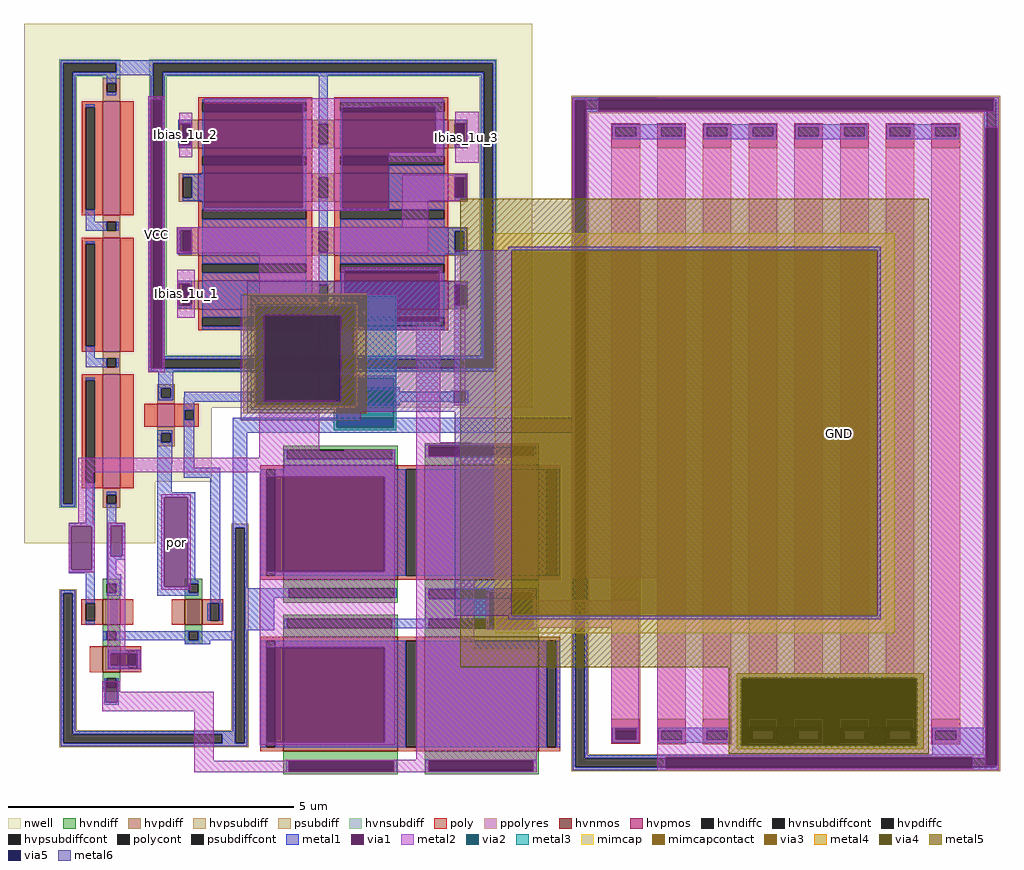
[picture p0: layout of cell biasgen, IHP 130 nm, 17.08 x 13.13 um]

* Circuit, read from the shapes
.subckt biasgen VCC GND Ibias_1u_1 Ibias_1u_2 Ibias_1u_3 por
XM1 GND n1 n2 GND sg13_hv_nmos w=0.3u l=0.45u
XM2 n1 n3 GND GND sg13_hv_nmos w=0.3u l=0.45u
XM3 por n4 GND GND sg13_hv_nmos w=0.3u l=0.45u
XM4 n5 n3 n2 GND sg13_hv_nmos w=2u l=2u m=3
XM5 n3 n3 GND GND sg13_hv_nmos w=2u l=2u
XM6 n6 n3 n1 VCC sg13_hv_pmos w=0.3u l=2u
XM7 n7 n6 n6 VCC sg13_hv_pmos w=0.3u l=2u
XM8 VCC n7 n7 VCC sg13_hv_pmos w=0.3u l=2u
XM9 VCC n4 por VCC sg13_hv_pmos w=0.3u l=0.4u
XM10 VCC n2 Ibias_1u_1 VCC sg13_hv_pmos w=0.5u l=2u
XM11 VCC n2 n3 VCC sg13_hv_pmos w=0.5u l=2u m=2
XM12 VCC n2 n2 VCC sg13_hv_pmos w=0.5u l=2u m=2
XM13 VCC n2 Ibias_1u_2 VCC sg13_hv_pmos w=0.5u l=2u
XM14 n4 n2 VCC VCC sg13_hv_pmos w=0.5u l=2u
XM15 Ibias_1u_3 n2 VCC VCC sg13_hv_pmos w=0.5u l=2u
XC16 n4 GND cap_cmim w=7u l=7u
XR17 n8 n5 ppolyres w=0.5u l=10u
XR18 n8 n9 ppolyres w=0.5u l=10u
XR19 n10 n9 ppolyres w=0.5u l=10u
XR20 n10 n11 ppolyres w=0.5u l=10u
XR21 n12 n11 ppolyres w=0.5u l=10u
XR22 n12 n13 ppolyres w=0.5u l=10u
XR23 n14 n13 ppolyres w=0.5u l=10u
XR24 n14 GND ppolyres w=0.5u l=10u
.ends

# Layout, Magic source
magic
tech ihp-sg13g2
magscale 1 2
<< nwell >>
rect -1596 1288 183 2631
rect -1596 1028 -939 1288
rect -1596 813 -1136 1028
<< hvnmos >>
rect -1320 528 -1260 618
rect -1033 528 -973 618
rect -1320 362 -1260 452
rect -688 686 -288 1086
rect -194 686 206 1086
rect -688 86 -288 486
rect -194 86 206 486
<< hvpmos >>
rect -1320 1961 -1260 2361
rect -1320 1483 -1260 1883
rect -987 2196 -587 2296
rect -511 2196 -111 2296
rect -987 2008 -587 2108
rect -511 2008 -111 2108
rect -987 1820 -587 1920
rect -511 1820 -111 1920
rect -987 1632 -587 1732
rect -511 1632 -111 1732
rect -1320 1005 -1260 1405
rect -1129 1221 -1069 1301
<< hvndiff >>
rect -688 1141 -288 1155
rect -688 1108 -674 1141
rect -307 1108 -288 1141
rect -688 1086 -288 1108
rect -194 1149 206 1163
rect -194 1116 -180 1149
rect 187 1116 206 1149
rect -194 1086 206 1116
rect -1320 672 -1260 689
rect -1320 640 -1306 672
rect -1274 640 -1260 672
rect -1320 618 -1260 640
rect -1033 672 -973 689
rect -1033 640 -1019 672
rect -987 640 -973 672
rect -1033 618 -973 640
rect -1320 506 -1260 528
rect -1320 474 -1306 506
rect -1274 474 -1260 506
rect -1320 452 -1260 474
rect -1033 506 -973 528
rect -1033 474 -1019 506
rect -987 474 -973 506
rect -1033 460 -973 474
rect -1320 340 -1260 362
rect -1320 307 -1306 340
rect -1274 307 -1260 340
rect -1320 293 -1260 307
rect -688 656 -288 686
rect -688 623 -669 656
rect -302 623 -288 656
rect -688 605 -288 623
rect -194 652 206 686
rect -194 619 -180 652
rect 187 619 206 652
rect -688 549 -288 563
rect -688 516 -674 549
rect -307 516 -288 549
rect -688 486 -288 516
rect -194 549 206 619
rect -194 516 -180 549
rect 187 516 206 549
rect -194 486 206 516
rect -688 52 -288 86
rect -688 19 -669 52
rect -302 19 -288 52
rect -688 5 -288 19
rect -194 52 206 86
rect -194 19 -180 52
rect 187 19 206 52
rect -194 5 206 19
<< hvpdiff >>
rect -1320 2423 -1260 2441
rect -1320 2391 -1306 2423
rect -1274 2391 -1260 2423
rect -1320 2361 -1260 2391
rect -1320 1939 -1260 1961
rect -1320 1907 -1306 1939
rect -1274 1907 -1260 1939
rect -1320 1883 -1260 1907
rect -1320 1461 -1260 1483
rect -1320 1429 -1306 1461
rect -1274 1429 -1260 1461
rect -1320 1405 -1260 1429
rect -1055 2282 -987 2296
rect -1055 2210 -1041 2282
rect -1009 2210 -987 2282
rect -1055 2196 -987 2210
rect -587 2282 -511 2296
rect -587 2210 -565 2282
rect -533 2210 -511 2282
rect -587 2196 -511 2210
rect -111 2282 -43 2296
rect -111 2210 -89 2282
rect -57 2210 -43 2282
rect -111 2196 -43 2210
rect -1055 2094 -987 2108
rect -1055 2022 -1041 2094
rect -1009 2022 -987 2094
rect -1055 2008 -987 2022
rect -587 2094 -511 2108
rect -587 2022 -565 2094
rect -533 2022 -511 2094
rect -587 2008 -511 2022
rect -111 2094 -43 2108
rect -111 2022 -89 2094
rect -57 2022 -43 2094
rect -111 2008 -43 2022
rect -1055 1906 -987 1920
rect -1055 1834 -1041 1906
rect -1009 1834 -987 1906
rect -1055 1820 -987 1834
rect -587 1906 -511 1920
rect -587 1834 -565 1906
rect -533 1834 -511 1906
rect -587 1820 -511 1834
rect -111 1906 -43 1920
rect -111 1834 -89 1906
rect -57 1834 -43 1906
rect -111 1820 -43 1834
rect -1055 1718 -987 1732
rect -1055 1646 -1041 1718
rect -1009 1646 -987 1718
rect -1055 1632 -987 1646
rect -587 1718 -511 1732
rect -587 1646 -565 1718
rect -533 1646 -511 1718
rect -587 1632 -511 1646
rect -111 1718 -43 1732
rect -111 1646 -89 1718
rect -57 1646 -43 1718
rect -111 1632 -43 1646
rect -1129 1355 -1069 1369
rect -1129 1323 -1115 1355
rect -1083 1323 -1069 1355
rect -1129 1301 -1069 1323
rect -1129 1199 -1069 1221
rect -1129 1167 -1115 1199
rect -1083 1167 -1069 1199
rect -1129 1153 -1069 1167
rect -1320 983 -1260 1005
rect -1320 951 -1306 983
rect -1274 951 -1260 983
rect -1320 937 -1260 951
<< hvndiffc >>
rect -674 1108 -307 1141
rect -180 1116 187 1149
rect -1306 640 -1274 672
rect -1019 640 -987 672
rect -1306 474 -1274 506
rect -1019 474 -987 506
rect -1306 307 -1274 340
rect -669 623 -302 656
rect -180 619 187 652
rect -674 516 -307 549
rect -180 516 187 549
rect -669 19 -302 52
rect -180 19 187 52
<< hvpdiffc >>
rect -1306 2391 -1274 2423
rect -1306 1907 -1274 1939
rect -1306 1429 -1274 1461
rect -1041 2210 -1009 2282
rect -565 2210 -533 2282
rect -89 2210 -57 2282
rect -1041 2022 -1009 2094
rect -565 2022 -533 2094
rect -89 2022 -57 2094
rect -1041 1834 -1009 1906
rect -565 1834 -533 1906
rect -89 1834 -57 1906
rect -1041 1646 -1009 1718
rect -565 1646 -533 1718
rect -89 1646 -57 1718
rect -1115 1323 -1083 1355
rect -1115 1167 -1083 1199
rect -1306 951 -1274 983
<< psubdiff >>
rect 320 2365 1820 2379
rect 320 29 334 2365
rect 366 2319 1774 2333
rect 366 75 380 2319
rect 1760 75 1774 2319
rect 366 61 1774 75
rect 1806 29 1820 2365
rect 320 15 1820 29
<< hvpsubdiff >>
rect -870 868 -810 882
rect -1472 639 -1412 653
rect -1472 113 -1458 639
rect -1426 159 -1412 639
rect -870 159 -856 868
rect -1426 145 -856 159
rect -902 113 -856 145
rect -824 113 -810 868
rect -1472 99 -810 113
<< hvnsubdiff >>
rect -1472 2493 -1260 2507
rect -1472 951 -1458 2493
rect -1274 2461 -1260 2493
rect -1426 2447 -1260 2461
rect -1426 951 -1412 2447
rect -1320 2441 -1260 2447
rect -1157 2493 59 2507
rect -1157 1426 -1143 2493
rect -1111 2447 13 2461
rect -1111 1472 -1097 2447
rect -1 1472 13 2447
rect -1111 1458 13 1472
rect 45 1426 59 2493
rect -1157 1412 59 1426
rect -1472 937 -1412 951
<< psubdiffcont >>
rect 334 2333 1806 2365
rect 334 61 366 2333
rect 1774 61 1806 2333
rect 334 29 1806 61
<< hvpsubdiffcont >>
rect -1458 145 -1426 639
rect -1458 113 -902 145
rect -856 113 -824 868
<< hvnsubdiffcont >>
rect -1458 2461 -1274 2493
rect -1458 951 -1426 2461
rect -1143 2461 45 2493
rect -1143 1458 -1111 2461
rect 13 1458 45 2461
rect -1143 1426 45 1458
<< poly >>
rect -1394 2339 -1320 2361
rect -1394 1981 -1380 2339
rect -1348 1981 -1320 2339
rect -1394 1961 -1320 1981
rect -1260 1961 -1212 2361
rect -1394 1861 -1320 1883
rect -1394 1503 -1380 1861
rect -1348 1503 -1320 1861
rect -1394 1483 -1320 1503
rect -1260 1483 -1212 1883
rect -987 2356 -587 2374
rect -987 2324 -973 2356
rect -609 2324 -587 2356
rect -987 2296 -587 2324
rect -511 2356 -111 2374
rect -511 2324 -489 2356
rect -125 2324 -111 2356
rect -511 2296 -111 2324
rect -987 2168 -587 2196
rect -987 2136 -973 2168
rect -609 2136 -587 2168
rect -987 2108 -587 2136
rect -511 2168 -111 2196
rect -511 2136 -489 2168
rect -125 2136 -111 2168
rect -511 2108 -111 2136
rect -987 1980 -587 2008
rect -987 1948 -973 1980
rect -609 1948 -587 1980
rect -987 1920 -587 1948
rect -511 1980 -111 2008
rect -511 1948 -489 1980
rect -125 1948 -111 1980
rect -511 1920 -111 1948
rect -987 1792 -587 1820
rect -987 1760 -973 1792
rect -609 1760 -587 1792
rect -987 1732 -587 1760
rect -511 1792 -111 1820
rect -511 1760 -489 1792
rect -125 1760 -111 1792
rect -511 1732 -111 1760
rect -987 1604 -587 1632
rect -987 1572 -973 1604
rect -609 1572 -587 1604
rect -987 1558 -587 1572
rect -511 1604 -111 1632
rect -511 1572 -489 1604
rect -125 1572 -111 1604
rect -511 1558 -111 1572
rect -1394 1383 -1320 1405
rect -1394 1025 -1380 1383
rect -1348 1025 -1320 1383
rect -1394 1005 -1320 1025
rect -1260 1005 -1212 1405
rect -1176 1221 -1129 1301
rect -1069 1278 -985 1301
rect -1069 1246 -1034 1278
rect -1002 1246 -985 1278
rect -1069 1221 -985 1246
rect -770 1072 -688 1086
rect -1395 604 -1320 618
rect -1395 542 -1380 604
rect -1348 542 -1320 604
rect -1395 528 -1320 542
rect -1260 528 -1214 618
rect -1079 528 -1033 618
rect -973 604 -898 618
rect -973 542 -945 604
rect -912 542 -898 604
rect -973 528 -898 542
rect -1366 362 -1320 452
rect -1260 438 -1185 452
rect -1260 376 -1232 438
rect -1200 376 -1185 438
rect -1260 362 -1185 376
rect -770 700 -748 1072
rect -716 700 -688 1072
rect -770 686 -688 700
rect -288 1072 -194 1086
rect -288 700 -260 1072
rect -222 700 -194 1072
rect -288 686 -194 700
rect 206 1072 280 1086
rect 206 700 234 1072
rect 266 700 280 1072
rect 206 686 280 700
rect -770 472 -688 486
rect -770 100 -748 472
rect -716 100 -688 472
rect -770 86 -688 100
rect -288 472 -194 486
rect -288 100 -260 472
rect -222 100 -194 472
rect -288 86 -194 100
rect 206 472 280 486
rect 206 100 234 472
rect 266 100 280 472
rect 206 86 280 100
rect 460 2269 560 2283
rect 460 2237 474 2269
rect 546 2237 560 2269
rect 460 2197 560 2237
rect 460 157 560 197
rect 460 125 474 157
rect 546 125 560 157
rect 460 111 560 125
rect 620 2269 720 2283
rect 620 2237 634 2269
rect 706 2237 720 2269
rect 620 2197 720 2237
rect 620 157 720 197
rect 620 125 634 157
rect 706 125 720 157
rect 620 110 720 125
rect 780 2269 880 2283
rect 780 2237 794 2269
rect 866 2237 880 2269
rect 780 2197 880 2237
rect 780 157 880 197
rect 780 125 794 157
rect 866 125 880 157
rect 780 110 880 125
rect 940 2269 1040 2283
rect 940 2237 954 2269
rect 1026 2237 1040 2269
rect 940 2197 1040 2237
rect 940 157 1040 197
rect 940 125 954 157
rect 1026 125 1040 157
rect 940 110 1040 125
rect 1100 2269 1200 2283
rect 1100 2237 1114 2269
rect 1186 2237 1200 2269
rect 1100 2197 1200 2237
rect 1100 157 1200 197
rect 1100 125 1114 157
rect 1186 125 1200 157
rect 1100 110 1200 125
rect 1260 2269 1360 2283
rect 1260 2237 1274 2269
rect 1346 2237 1360 2269
rect 1260 2197 1360 2237
rect 1260 157 1360 197
rect 1260 125 1274 157
rect 1346 125 1360 157
rect 1260 110 1360 125
rect 1420 2269 1520 2283
rect 1420 2237 1434 2269
rect 1506 2237 1520 2269
rect 1420 2197 1520 2237
rect 1420 157 1520 197
rect 1420 125 1434 157
rect 1506 125 1520 157
rect 1420 110 1520 125
rect 1580 2269 1680 2283
rect 1580 2237 1594 2269
rect 1666 2237 1680 2269
rect 1580 2197 1680 2237
rect 1580 157 1680 197
rect 1580 125 1594 157
rect 1666 125 1680 157
rect 1580 110 1680 125
<< polycont >>
rect -1380 1981 -1348 2339
rect -1380 1503 -1348 1861
rect -973 2324 -609 2356
rect -489 2324 -125 2356
rect -973 2136 -609 2168
rect -489 2136 -125 2168
rect -973 1948 -609 1980
rect -489 1948 -125 1980
rect -973 1760 -609 1792
rect -489 1760 -125 1792
rect -973 1572 -609 1604
rect -489 1572 -125 1604
rect -1380 1025 -1348 1383
rect -1034 1246 -1002 1278
rect -1380 542 -1348 604
rect -945 542 -912 604
rect -1232 376 -1200 438
rect -748 700 -716 1072
rect -260 700 -222 1072
rect 234 700 266 1072
rect -748 100 -716 472
rect -260 100 -222 472
rect 234 100 266 472
rect 474 2237 546 2269
rect 474 125 546 157
rect 634 2237 706 2269
rect 634 125 706 157
rect 794 2237 866 2269
rect 794 125 866 157
rect 954 2237 1026 2269
rect 954 125 1026 157
rect 1114 2237 1186 2269
rect 1114 125 1186 157
rect 1274 2237 1346 2269
rect 1274 125 1346 157
rect 1434 2237 1506 2269
rect 1434 125 1506 157
rect 1594 2237 1666 2269
rect 1594 125 1666 157
<< ppolyres >>
rect 460 197 560 2197
rect 620 197 720 2197
rect 780 197 880 2197
rect 940 197 1040 2197
rect 1100 197 1200 2197
rect 1260 197 1360 2197
rect 1420 197 1520 2197
rect 1580 197 1680 2197
<< metal1 >>
rect -1468 2493 55 2503
rect -1468 951 -1458 2493
rect -1274 2461 -1143 2493
rect -1426 2451 -1143 2461
rect -1426 951 -1416 2451
rect -1306 2423 -1274 2451
rect -1306 2381 -1274 2391
rect -1153 2365 -1143 2451
rect -1111 2451 13 2461
rect -1380 2339 -1348 2349
rect -1380 1939 -1348 1981
rect -1380 1907 -1306 1939
rect -1274 1907 -1264 1939
rect -1380 1861 -1348 1871
rect -1380 1461 -1348 1503
rect -1380 1429 -1306 1461
rect -1274 1429 -1264 1461
rect -1153 1425 -1152 2365
rect -1111 1468 -1103 2451
rect -973 2356 -609 2367
rect -1057 2282 -1009 2296
rect -1057 2206 -1053 2282
rect -1013 2206 -1009 2210
rect -1057 2197 -1009 2206
rect -973 2168 -965 2324
rect -620 2168 -609 2324
rect -973 2104 -965 2136
rect -1041 2094 -965 2104
rect -1009 2022 -965 2094
rect -1041 2012 -965 2022
rect -973 1987 -965 2012
rect -620 1987 -609 2136
rect -973 1980 -609 1987
rect -1060 1908 -1009 1920
rect -1060 1836 -1050 1908
rect -1010 1906 -1009 1908
rect -1060 1834 -1041 1836
rect -1060 1824 -1009 1834
rect -973 1792 -609 1948
rect -1060 1721 -1009 1732
rect -1060 1645 -1055 1721
rect -1015 1718 -1009 1721
rect -1015 1645 -1009 1646
rect -1060 1636 -1009 1645
rect -973 1604 -609 1760
rect -973 1561 -609 1572
rect -565 2282 -533 2451
rect -565 2094 -533 2210
rect -565 1906 -533 2022
rect -565 1718 -533 1834
rect -565 1468 -533 1646
rect -489 2356 -125 2366
rect -489 2168 -482 2324
rect -155 2182 -125 2324
rect -89 2284 -46 2296
rect -89 2282 -87 2284
rect -89 2208 -87 2210
rect -47 2208 -46 2284
rect -89 2197 -46 2208
rect -320 2168 -125 2182
rect -489 1986 -482 2136
rect -320 1986 -125 2136
rect -89 2094 -47 2105
rect -48 2022 -47 2094
rect -89 2012 -47 2022
rect -489 1980 -125 1986
rect -489 1917 -125 1948
rect -489 1906 -47 1917
rect -489 1834 -89 1906
rect -57 1834 -47 1906
rect -489 1824 -47 1834
rect -489 1792 -125 1824
rect -489 1604 -475 1760
rect -143 1604 -125 1760
rect -89 1718 -47 1729
rect -48 1646 -47 1718
rect -89 1636 -47 1646
rect -489 1561 -125 1572
rect 5 1468 13 2451
rect -1111 1458 13 1468
rect 45 1426 55 2493
rect -1112 1425 55 1426
rect -1153 1416 55 1425
rect 324 2373 1816 2375
rect 324 2365 413 2373
rect 1798 2365 1816 2373
rect 324 2364 334 2365
rect -1468 941 -1416 951
rect -1380 1383 -1348 1393
rect -1126 1355 -1073 1416
rect -1126 1323 -1115 1355
rect -1083 1323 -1073 1355
rect -522 1346 -281 1359
rect -522 1344 -509 1346
rect -1126 1313 -1073 1323
rect -1036 1322 -509 1344
rect -1037 1308 -509 1322
rect -1037 1278 -1001 1308
rect -522 1306 -509 1308
rect -296 1344 -281 1346
rect -100 1346 -42 1347
rect -100 1344 -91 1346
rect -296 1308 -91 1344
rect -296 1306 -281 1308
rect -522 1296 -281 1306
rect -100 1306 -91 1308
rect -51 1306 -42 1346
rect -100 1305 -42 1306
rect -1037 1246 -1034 1278
rect -1002 1246 -1001 1278
rect 324 1252 331 2364
rect -1380 885 -1348 1025
rect -1130 1199 -1078 1209
rect -1130 1167 -1115 1199
rect -1083 1167 -1078 1199
rect -1130 1091 -1078 1167
rect -1439 873 -1348 885
rect -1439 721 -1430 873
rect -1359 721 -1348 873
rect -1439 708 -1348 721
rect -1468 639 -1416 649
rect -1468 113 -1458 639
rect -1426 155 -1416 639
rect -1380 604 -1348 708
rect -1306 983 -1274 994
rect -1306 884 -1274 951
rect -1130 991 -1079 1091
rect -1037 1078 -1001 1246
rect -866 1200 331 1252
rect -1037 1042 -909 1078
rect -1130 974 -997 991
rect -1306 875 -1241 884
rect -1306 768 -1293 875
rect -1253 768 -1241 875
rect -1306 756 -1241 768
rect -1306 705 -1274 756
rect -1306 672 -1255 705
rect -1274 640 -1255 672
rect -1306 630 -1255 640
rect -1130 661 -1105 974
rect -1023 684 -997 974
rect -1023 672 -987 684
rect -1023 661 -1019 672
rect -1130 640 -1019 661
rect -1130 630 -987 640
rect -945 604 -909 1042
rect -866 868 -814 1200
rect -191 1157 197 1158
rect -191 1149 -179 1157
rect -685 1108 -674 1141
rect -307 1108 -297 1141
rect -191 1116 -180 1149
rect 188 1117 197 1157
rect 187 1116 197 1117
rect -685 1072 -297 1108
rect -955 542 -945 604
rect -912 542 -902 604
rect -1380 530 -1348 542
rect -1033 506 -981 507
rect -866 506 -856 868
rect -1320 474 -1306 506
rect -1274 474 -1019 506
rect -987 474 -856 506
rect -1033 460 -945 474
rect -1301 429 -1232 438
rect -1301 384 -1292 429
rect -1301 376 -1232 384
rect -1200 376 -1189 438
rect -1316 329 -1306 340
rect -1274 329 -1264 340
rect -1316 257 -1310 329
rect -1270 257 -1264 329
rect -1316 248 -1264 257
rect -866 155 -856 474
rect -1426 145 -856 155
rect -902 113 -856 145
rect -824 656 -814 868
rect -770 700 -748 1072
rect -716 1046 -260 1072
rect -333 713 -260 1046
rect -716 700 -260 713
rect -222 700 234 1072
rect 266 700 280 1072
rect 324 692 331 1200
rect 371 2325 413 2333
rect 371 2323 1774 2325
rect 371 692 376 2323
rect 463 2269 716 2279
rect 463 2237 474 2269
rect 546 2237 634 2269
rect 706 2237 716 2269
rect 463 2227 716 2237
rect 783 2269 1036 2279
rect 783 2237 794 2269
rect 866 2237 954 2269
rect 1026 2237 1036 2269
rect 783 2227 1036 2237
rect 1103 2269 1356 2279
rect 1103 2237 1114 2269
rect 1186 2237 1274 2269
rect 1346 2237 1356 2269
rect 1103 2227 1356 2237
rect 1423 2269 1676 2279
rect 1423 2237 1434 2269
rect 1506 2237 1594 2269
rect 1666 2237 1676 2269
rect 1423 2227 1676 2237
rect 1764 2268 1774 2323
rect 1806 2268 1816 2365
rect -824 623 -669 656
rect -302 623 -292 656
rect -192 652 198 656
rect -824 508 -721 623
rect -192 619 -180 652
rect 187 619 198 652
rect -192 549 31 619
rect 184 549 198 619
rect -685 516 -674 549
rect -307 516 -180 549
rect 187 516 198 549
rect 22 511 67 516
rect -824 113 -814 508
rect -1468 103 -814 113
rect -770 449 -748 472
rect -716 449 -260 472
rect -770 116 -749 449
rect -334 116 -260 449
rect -770 100 -748 116
rect -716 100 -260 116
rect -222 100 234 472
rect 266 100 280 472
rect -679 52 -292 56
rect -679 12 -669 52
rect -302 12 -292 52
rect -192 53 198 56
rect -192 13 -180 53
rect 187 13 198 53
rect 324 29 334 692
rect 366 71 376 692
rect 1764 167 1770 2268
rect 463 165 556 167
rect 463 125 473 165
rect 547 125 556 165
rect 463 115 556 125
rect 623 157 876 167
rect 623 125 634 157
rect 706 125 794 157
rect 866 125 876 157
rect 623 115 876 125
rect 943 157 1196 167
rect 943 125 954 157
rect 1026 125 1114 157
rect 1186 125 1196 157
rect 943 115 1196 125
rect 1263 157 1516 167
rect 1263 125 1274 157
rect 1346 125 1434 157
rect 1506 125 1516 157
rect 1263 115 1516 125
rect 1583 157 1770 167
rect 1583 125 1594 157
rect 1666 125 1770 157
rect 1583 71 1770 125
rect 366 65 1770 71
rect 366 61 648 65
rect 1724 61 1770 65
rect 1810 34 1816 2268
rect 1806 29 1816 34
rect 324 25 648 29
rect 1724 25 1816 29
rect 324 19 1816 25
rect -192 12 198 13
rect -679 11 -292 12
<< via1 >>
rect -1152 1426 -1143 2365
rect -1143 1426 -1112 2365
rect -965 2324 -620 2353
rect -1053 2210 -1041 2282
rect -1041 2210 -1013 2282
rect -1053 2206 -1013 2210
rect -965 2168 -620 2324
rect -965 2136 -620 2168
rect -965 1987 -620 2136
rect -1050 1906 -1010 1908
rect -1050 1836 -1041 1906
rect -1041 1836 -1010 1906
rect -1055 1718 -1015 1721
rect -1055 1646 -1041 1718
rect -1041 1646 -1015 1718
rect -1055 1645 -1015 1646
rect -375 2340 -155 2341
rect -482 2324 -155 2340
rect -482 2182 -155 2324
rect -87 2282 -47 2284
rect -87 2210 -57 2282
rect -57 2210 -47 2282
rect -87 2208 -47 2210
rect -482 2168 -320 2182
rect -482 2136 -320 2168
rect -482 1986 -320 2136
rect -88 2022 -57 2094
rect -57 2022 -48 2094
rect -475 1760 -143 1769
rect -475 1604 -143 1760
rect -88 1646 -57 1718
rect -57 1646 -48 1718
rect -475 1588 -143 1604
rect -1152 1425 -1112 1426
rect 413 2365 1798 2373
rect -509 1306 -296 1346
rect -91 1306 -51 1346
rect -1430 721 -1359 873
rect -1293 768 -1253 875
rect -1105 661 -1023 974
rect -179 1149 188 1157
rect -179 1117 187 1149
rect 187 1117 188 1149
rect -1292 384 -1232 429
rect -1232 384 -1202 429
rect -1310 307 -1306 329
rect -1306 307 -1274 329
rect -1274 307 -1270 329
rect -1310 257 -1270 307
rect -748 713 -716 1046
rect -716 713 -333 1046
rect 331 692 334 2364
rect 334 2333 371 2364
rect 413 2333 1798 2365
rect 334 692 366 2333
rect 366 692 371 2333
rect 413 2325 1774 2333
rect 1774 2325 1798 2333
rect 31 619 184 643
rect 31 549 184 619
rect 31 521 184 549
rect -749 116 -748 449
rect -748 116 -716 449
rect -716 116 -334 449
rect -669 19 -302 52
rect -669 12 -302 19
rect -180 52 187 53
rect -180 19 187 52
rect -180 13 187 19
rect 473 157 547 165
rect 473 125 474 157
rect 474 125 546 157
rect 546 125 547 157
rect 648 61 1724 65
rect 1770 61 1774 2268
rect 1774 61 1806 2268
rect 648 29 1724 61
rect 1770 34 1806 61
rect 1806 34 1810 2268
rect 648 25 1724 29
<< metal2 >>
rect -1161 2365 -1103 2378
rect 620 2373 1816 2374
rect -1161 1425 -1152 2365
rect -1112 1425 -1103 2365
rect -965 2353 -129 2370
rect -1053 2282 -1008 2320
rect -1013 2206 -1008 2282
rect -1053 2165 -1008 2206
rect -620 2341 -129 2353
rect -620 2340 -375 2341
rect -620 1987 -482 2340
rect -155 2182 -129 2341
rect 322 2364 413 2373
rect -965 1986 -482 1987
rect -320 2148 -129 2182
rect -87 2284 -5 2323
rect -47 2208 -5 2284
rect -87 2145 -5 2208
rect -965 1977 -320 1986
rect -273 2094 -48 2103
rect -273 2022 -88 2094
rect -273 2012 -48 2022
rect -965 1976 -620 1977
rect -273 1919 -182 2012
rect -1061 1908 -182 1919
rect -1061 1836 -1050 1908
rect -1010 1836 -182 1908
rect -1061 1828 -182 1836
rect -1059 1721 -999 1771
rect -1059 1645 -1055 1721
rect -1015 1645 -999 1721
rect -1059 1603 -999 1645
rect -1161 1412 -1103 1425
rect -772 1136 -562 1828
rect -486 1769 -133 1779
rect -486 1588 -475 1769
rect -143 1588 -133 1769
rect -91 1718 -48 1728
rect -91 1646 -88 1718
rect -91 1632 -48 1646
rect -486 1580 -139 1588
rect -228 1579 -139 1580
rect -512 1390 -293 1400
rect -512 1346 -501 1390
rect -302 1346 -293 1390
rect -512 1306 -509 1346
rect -296 1306 -293 1346
rect -512 1218 -501 1306
rect -302 1218 -293 1306
rect -512 1208 -293 1218
rect -223 1166 -139 1579
rect -91 1346 -51 1632
rect -91 1297 -51 1306
rect -223 1164 -32 1166
rect -223 1157 198 1164
rect -473 1136 -298 1141
rect -773 1113 -298 1136
rect -1406 1061 -298 1113
rect -1406 883 -1354 1061
rect -771 1046 -298 1061
rect -1115 974 -1013 984
rect -1440 873 -1349 883
rect -1440 721 -1430 873
rect -1359 721 -1349 873
rect -1440 711 -1349 721
rect -1303 875 -1242 885
rect -1303 768 -1293 875
rect -1253 768 -1242 875
rect -1303 440 -1242 768
rect -1115 661 -1105 974
rect -1023 661 -1013 974
rect -1115 651 -1013 661
rect -771 713 -748 1046
rect -333 713 -298 1046
rect -771 449 -298 713
rect -1303 429 -1186 440
rect -1303 384 -1292 429
rect -1202 384 -1186 429
rect -1303 372 -1186 384
rect -1322 329 -1259 330
rect -1322 257 -1310 329
rect -1270 294 -1259 329
rect -1270 257 -932 294
rect -1322 226 -932 257
rect -1000 52 -932 226
rect -771 116 -749 449
rect -334 116 -298 449
rect -771 108 -298 116
rect -223 1117 -179 1157
rect 188 1117 198 1157
rect -223 1100 198 1117
rect -223 695 196 1100
rect -223 443 -20 695
rect 322 692 331 2364
rect 371 2325 413 2364
rect 1798 2325 1816 2373
rect 371 2268 1816 2325
rect 371 692 1770 2268
rect 22 643 194 653
rect 22 521 31 643
rect 184 614 194 643
rect 460 614 556 616
rect 184 521 556 614
rect 22 518 556 521
rect 22 511 194 518
rect -223 56 198 443
rect 460 165 556 518
rect 460 125 473 165
rect 547 125 556 165
rect 460 116 556 125
rect 620 340 1770 692
rect -681 53 198 56
rect -681 52 -180 53
rect -1000 12 -669 52
rect -302 13 -180 52
rect 187 13 198 53
rect 620 105 915 340
rect 1529 105 1770 340
rect 620 65 1770 105
rect 620 25 648 65
rect 1724 34 1770 65
rect 1810 34 1816 2268
rect 1724 25 1816 34
rect 620 19 1816 25
rect -302 12 198 13
rect -681 11 198 12
<< via2 >>
rect -501 1346 -302 1390
rect -501 1306 -302 1346
rect -501 1218 -302 1306
rect 915 105 1529 340
<< metal3 >>
rect -802 1654 -294 1680
rect -802 1291 -788 1654
rect -431 1400 -294 1654
rect -431 1390 -293 1400
rect -802 1280 -501 1291
rect -512 1218 -501 1280
rect -302 1218 -293 1390
rect -512 1208 -293 1218
rect 898 340 1553 359
rect 898 105 915 340
rect 1529 105 1553 340
rect 898 93 1553 105
<< via3 >>
rect -788 1390 -431 1654
rect -788 1291 -501 1390
rect -501 1291 -431 1390
rect 915 105 1529 340
<< metal4 >>
rect -828 1654 -397 1686
rect -828 1291 -788 1654
rect -431 1291 -397 1654
rect -828 1268 -397 1291
rect 898 340 1553 359
rect 898 105 915 340
rect 1529 105 1553 340
rect 898 93 1553 105
<< via4 >>
rect -782 1300 -443 1640
rect 915 105 1529 340
<< metal5 >>
rect -814 1640 -398 1681
rect -814 1300 -782 1640
rect -443 1300 -398 1640
rect -814 1268 -398 1300
rect -69 379 1571 2019
rect 871 340 1571 379
rect 871 105 915 340
rect 1529 105 1571 340
rect 871 76 1571 105
<< via5 >>
rect -756 1311 -488 1611
<< mimcap >>
rect 51 1839 1451 1899
rect 51 559 111 1839
rect 1391 559 1451 1839
rect 51 499 1451 559
<< mimcapcontact >>
rect 111 559 1391 1839
<< metal6 >>
rect 99 1839 1403 1851
rect -89 1730 111 1839
rect -814 1683 111 1730
rect -838 1611 111 1683
rect -838 1311 -756 1611
rect -488 1311 111 1611
rect -838 1273 111 1311
rect -838 1244 -418 1273
rect -89 559 111 1273
rect 1391 559 1403 1839
rect 99 547 1403 559
<< labels >>
flabel metal2 -1157 1415 -1105 2375 1 FreeSans 320 0 0 0 VCC
port 0 n power default
flabel metal2 733 46 1782 2346 0 FreeSans 320 0 0 0 GND
port 1 nsew power default
flabel metal2 -1059 1603 -999 1771 0 FreeSans 320 0 0 0 Ibias_1u_1
port 6 nsew
flabel metal2 -1053 2165 -1008 2320 0 FreeSans 320 0 0 0 Ibias_1u_2
port 7 nsew
flabel metal2 -87 2145 -5 2323 0 FreeSans 320 0 0 0 Ibias_1u_3
port 8 nsew
flabel metal2 -1115 651 -1013 984 0 FreeSans 320 0 0 0 por
port 9 nsew
<< end >>
